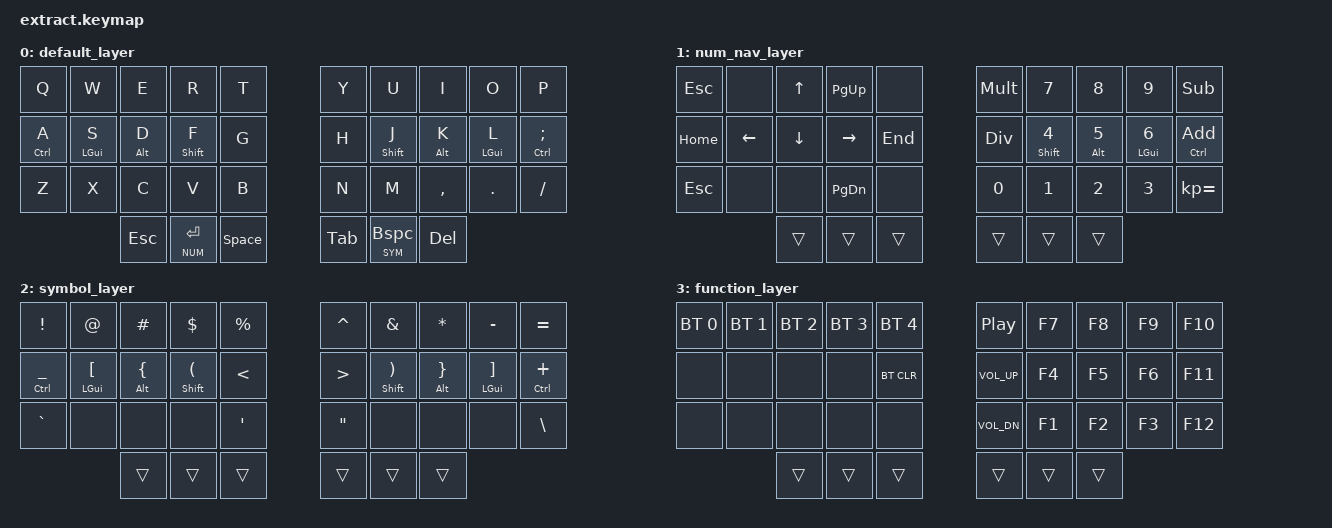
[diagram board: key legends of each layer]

#include <behaviors.dtsi>
#include <dt-bindings/zmk/keys.h>
#include <dt-bindings/zmk/bt.h>

#define BASE   0
#define NUM    1
#define SYM    2
#define FUNC   3

/ {
        keymap {
                compatible = "zmk,keymap";

                default_layer       {
                        bindings = <
   &kp Q             &kp W             &kp E             &kp R             &kp T                  &kp Y             &kp U             &kp I             &kp O             &kp P
   &hm Ctrl A        &hm LGUI S        &hm Alt D         &hm Shift F       &kp G                  &kp H             &hm Shift J       &hm Alt K         &hm LGUI L        &hm Ctrl SEMI
   &kp Z             &kp X             &kp C             &kp V             &kp B                  &kp N             &kp M             &kp COMMA         &kp DOT           &kp FSLH
                                       &kp ESC           &lt NUM RET       &kp Space              &kp Tab           &lt SYM Bspc      &kp DEL
                        >;
                };
 
                num_nav_layer {
                        bindings = <
   &kp ESC           &none             &kp UP            &kp PG_UP         &none                  &kp Mult          &kp 7             &kp 8             &kp 9             &kp Sub
   &kp Home          &kp LEFT          &kp DOWN          &kp RIGHT         &kp End                &kp Div           &hm Shift 4       &hm Alt 5         &hm LGUI 6        &hm Ctrl Add
   &kp ESC           &none             &none             &kp PG_DN         &none                  &kp 0             &kp 1             &kp 2             &kp 3             &kp KP_EQUAL
                                       &trans            &trans            &trans                 &trans            &trans            &trans
                        >;
                };

                symbol_layer {
                        bindings = <
   &kp EXCL          &kp AT            &kp HASH          &kp DLLR          &kp PRCNT              &kp CARET         &kp AMPS          &kp STAR          &kp MINUS         &kp EQUAL
   &hm Ctrl UNDER    &hm LGUI LBKT     &hm Alt LBRC      &hm Shift LPAR    &kp LT                 &kp GT            &hm Shift RPAR    &hm Alt RBRC      &hm LGUI RBKT     &hm Ctrl PLUS
   &kp GRAVE         &none             &none             &none             &kp SINGLE_QUOTE       &kp DOUBLE_QUOTES &none             &none             &none             &kp BSLH
                                       &trans            &trans            &trans                 &trans            &trans            &trans
                        >;
                };

                function_layer {
                        bindings = <
   &bt BT_SEL 0      &bt BT_SEL 1      &bt BT_SEL 2      &bt BT_SEL 3      &bt BT_SEL 4           &kp C_PLAY_PAUSE  &kp F7            &kp F8            &kp F9            &kp F10
   &none             &none             &none             &none             &bt BT_CLR             &kp C_VOL_UP      &kp F4            &kp F5            &kp F6            &kp F11
   &none             &none             &none             &none             &none                  &kp C_VOL_DN      &kp F1            &kp F2            &kp F3            &kp F12
                                       &trans            &trans            &trans                 &trans            &trans            &trans
                        >;
                };
        };
};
